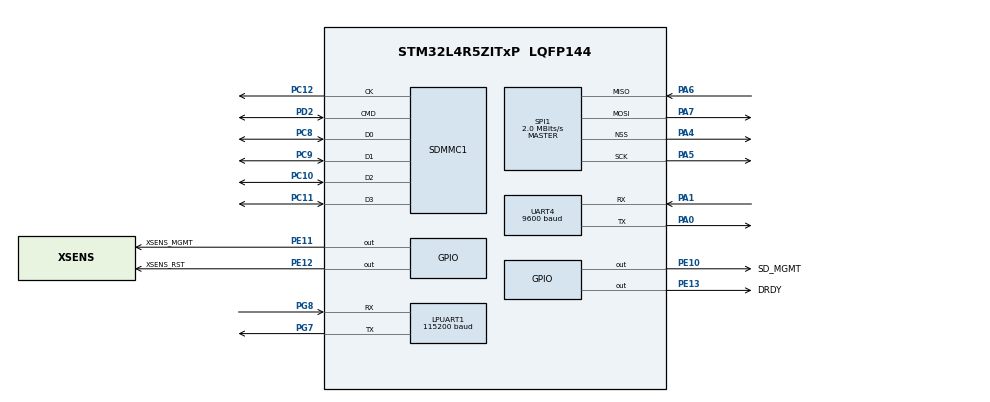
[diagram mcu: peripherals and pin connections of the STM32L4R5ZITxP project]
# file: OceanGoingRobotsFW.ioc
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LPUART1.BaudRate=115200
Mcu.Family=STM32L4
Mcu.Name=STM32L4R5ZITxP
Mcu.Package=LQFP144
NVIC.LPUART1_IRQn=true\:0\:0\:false\:false\:true\:true\:true\:true
NVIC.PriorityGroup=NVIC_PRIORITYGROUP_4
NVIC.UART4_IRQn=true\:0\:0\:false\:false\:true\:true\:true\:true
PA0.Mode=Asynchronous
PA0.Signal=UART4_TX
PA1.Mode=Asynchronous
PA1.Signal=UART4_RX
PA13\ (JTMS/SWDIO).Mode=Serial_Wire
PA13\ (JTMS/SWDIO).Signal=SYS_JTMS-SWDIO
PA14\ (JTCK/SWCLK).Mode=Serial_Wire
PA14\ (JTCK/SWCLK).Signal=SYS_JTCK-SWCLK
PA15\ (JTDI).Signal=SYS_JTDI
PA4.Mode=NSS_Signal_Hard_Output
PA4.Signal=SPI1_NSS
PA5.Mode=Full_Duplex_Master
PA5.Signal=SPI1_SCK
PA6.Mode=Full_Duplex_Master
PA6.Signal=SPI1_MISO
PA7.Mode=Full_Duplex_Master
PA7.Signal=SPI1_MOSI
PB3\ (JTDO/TRACESWO).Signal=SYS_JTDO-SWO
PB4\ (NJTRST).Signal=SYS_JTRST
PC10.GPIO_PuPd=GPIO_PULLUP
PC10.GPIO_Speed_High_Default=GPIO_SPEED_FREQ_LOW
PC10.Mode=SD_4_bits_Wide_bus
PC10.Signal=SDMMC1_D2
PC11.GPIO_PuPd=GPIO_PULLUP
PC11.GPIO_Speed_High_Default=GPIO_SPEED_FREQ_LOW
PC11.Mode=SD_4_bits_Wide_bus
PC11.Signal=SDMMC1_D3
PC12.GPIO_PuPd=GPIO_PULLUP
PC12.GPIO_Speed_High_Default=GPIO_SPEED_FREQ_LOW
PC12.Mode=SD_4_bits_Wide_bus
PC12.Signal=SDMMC1_CK
PC8.GPIO_PuPd=GPIO_PULLUP
PC8.GPIO_Speed_High_Default=GPIO_SPEED_FREQ_LOW
PC8.Mode=SD_4_bits_Wide_bus
PC8.Signal=SDMMC1_D0
PC9.GPIO_Mode=GPIO_MODE_AF_PP
PC9.GPIO_PuPd=GPIO_PULLUP
PC9.GPIO_Speed_High_Default=GPIO_SPEED_FREQ_LOW
PC9.Mode=SD_4_bits_Wide_bus
PC9.Signal=SDMMC1_D1
PD2.GPIO_PuPd=GPIO_PULLUP
PD2.GPIO_Speed_High_Default=GPIO_SPEED_FREQ_LOW
PD2.Mode=SD_4_bits_Wide_bus
PD2.Signal=SDMMC1_CMD
PE10.GPIO_Label=SD_MGMT
PE10.Signal=GPIO_Output
PE11.GPIO_Label=XSENS_MGMT
PE11.Signal=GPIO_Output
PE12.GPIO_Label=XSENS_RST
PE12.Signal=GPIO_Output
PE13.GPIO_Label=DRDY
PE13.Signal=GPIO_Output
PG7.Mode=Asynchronous
PG7.Signal=LPUART1_TX
PG8.Mode=Asynchronous
PG8.Signal=LPUART1_RX
ProjectManager.HeapSize=0x200
ProjectManager.StackSize=0x400
ProjectManager.TargetToolchain=STM32CubeIDE
RCC.HSE_VALUE=8000000
RCC.HSI48_VALUE=48000000
RCC.HSI_VALUE=16000000
RCC.LSE_VALUE=32768
RCC.MSI_VALUE=4000000
RCC.PLLN=16
RCC.VCOOutputFreq_Value=64000000
SDMMC1.ClockDiv=32
SPI1.CalculateBaudRate=2.0 MBits/s
SPI1.Direction=SPI_DIRECTION_2LINES
SPI1.Mode=SPI_MODE_MASTER
SPI1.VirtualNSS=VM_NSSHARD
SPI1.VirtualType=VM_MASTER
UART4.BaudRate=9600
VP_FATFS_VS_SDIO.Mode=SDIO
board=custom

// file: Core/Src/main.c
/* USER CODE BEGIN Header */
/**
  ******************************************************************************
  * @file           : main.c
  * @brief          : Main program body
  ******************************************************************************
  * @attention
  *
  * Copyright (c) 2022 STMicroelectronics.
  * All rights reserved.
  *
  * This software is licensed under terms that can be found in the LICENSE file
  * in the root directory of this software component.
  * If no LICENSE file comes with this software, it is provided AS-IS.
  *
  ******************************************************************************
  */
/* USER CODE END Header */
#include "main.h"
#include "fatfs.h"

/* USER CODE BEGIN Includes */
#include "string.h"
#include <stdlib.h>
#include "Uart_manager.h"
#include "UartRingBuffer_multi.h"
#include "SDCardStuff.h"

/* USER CODE END Includes */

 UART_HandleTypeDef hlpuart1;
UART_HandleTypeDef huart4;

SD_HandleTypeDef hsd1;

SPI_HandleTypeDef hspi1;

void SystemClock_Config(void);
static void MX_GPIO_Init(void);
static void MX_SDMMC1_SD_Init(void);
static void MX_SPI1_Init(void);
static void MX_UART4_Init(void);
static void MX_LPUART1_UART_Init(void);
/* USER CODE BEGIN PFP */

void SD_PWRMGMT(int state);
void XSENS_PWRMGMT(int state);

/* USER CODE END PFP */

int main(void)
{
  /* USER CODE BEGIN 1 */
	char tx_buf[20];
  /* USER CODE END 1 */

  /* MCU Configuration--------------------------------------------------------*/

  /* Reset of all peripherals, Initializes the Flash interface and the Systick. */
  HAL_Init();

  /* USER CODE BEGIN Init */
  UART_Init();

  /* USER CODE END Init */

  /* Configure the system clock */
  SystemClock_Config();

  /* Initialize all configured peripherals */
  MX_GPIO_Init();
  MX_SDMMC1_SD_Init();
  MX_SPI1_Init();
  MX_UART4_Init();
  MX_LPUART1_UART_Init();
  MX_FATFS_Init();
  /* USER CODE BEGIN 2 */

  // Turn off XSENS and SD Card (fix these so its just set low instead of toggle)
  SD_PWRMGMT(0);
  XSENS_PWRMGMT(0);

  // Create some variables for main
  int a = 1;			// dummy variable for a while loop
  float UTC = 0;			// Unix time
  int TotalData = 0;	// Total number of data points collected in this 20 minute interval so far
  int NewData = 0;			// number of new data points since last write to the SD card
  int buffer = 0;		// Variable for storing number of data points in XSENS buffer
  int restart = 0;

  // Allocate dynamic arrays for
  // parameters collected by XSENS. (11)
  // Length 120 in case there's extra data.
  // Should only get up to 100 values each
  float* AccX = calloc(120, sizeof(float));
  float* AccY = calloc(120, sizeof(float));
  float* AccZ = calloc(120, sizeof(float));
  float* Orien1 = calloc(120, sizeof(float));
  float* Orien2 = calloc(120, sizeof(float));
  float* Orien3 = calloc(120, sizeof(float));
  float* Orien4 = calloc(120, sizeof(float));
  float* MagX = calloc(120, sizeof(float));
  float* MagY = calloc(120, sizeof(float));
  float* MagZ = calloc(120, sizeof(float));
  float* TimeStamp = calloc(120, sizeof(float));

  float ParamCSV[15];

  /* USER CODE END 2 */

  /* Infinite loop */
  /* USER CODE BEGIN WHILE */
  while (1) {

	  //poll for serial until receiving "set time %lf\r" where %lf = unix time
	  while (a) {
		  // if receive the aforementioned serial message, store UTC
		  UTC = UART_TimeCheck();
		  if (UTC != 0) {

		  	  // send ack "TIME SET:\r"
		  	  sprintf(tx_buf, "TIME SET:\r\n");
		  	  tx_string(&huart4, tx_buf);

		  	  // Power on XSENS and SD card
		  	  SD_PWRMGMT(1);
		  	  XSENS_PWRMGMT(1);

			  // Wait a tiny bit so the SD or XSENS don't get confused, having just been born.
			  HAL_Delay(20);

		  	  // Init SD card with UTC for filename
		  	  initFileSD(UTC);

		  	  // Init XSENS with UTC
		  	  XSENS_INIT(UTC);

		  	  // Power off SD Card
		  	  SD_PWRMGMT(0);

		  	  // break loop
		  	  a = 0;

		  } // End If
	  } // End While

	  // if there are 10 data points in the XSENS Buffer
	  buffer = XSENS_Buffer();
	  if (buffer >= 10) {
		  // Grab contents of buffer and append it to data0, data1, data2 etc....
		  XSENS_Read(NewData, 120, AccX, AccY, AccZ, Orien1, Orien2, Orien3, Orien4, MagX, MagY, MagZ, TimeStamp);
		  NewData += buffer;
	  }

	  // After NewData >= 100, store all the gathered XSENS data to the SD card
	  if (NewData >= 100) {
		  //Add number of new Data (~100) to TotalData
		  TotalData += NewData;

	  	  //turn on SD card
		  SD_PWRMGMT(1);

		  //Wait a tiny bit so the SD doesn't get confused, having just been born.
		  HAL_Delay(20);

	  	  //store data
		  writeSD(UTC, AccX, AccY, AccZ, Orien1, Orien2, Orien3, Orien4, MagX, MagY, MagZ, TimeStamp, TotalData);

	  	  //turn off SD card
		  SD_PWRMGMT(0);
	  }

	  // poll for serial to wait for message "restart\r"
	  restart = UART_RestartCheck();

	  // if Serial has received restart\r
	  if(restart) {
  	  	  // Power off XSENS
  	  	  XSENS_PWRMGMT(0);

	  	  // dump remaining data (free parameter arrays). Up to 10 seconds of data out of 20 mins doesnt matter that much
	  	  // and we need to be quick here so that the glider can dive sooner and we don't hit timeout.
  	  	  free(AccX);
  	  	  free(AccY);
		  free(AccZ);
		  free(Orien1);
		  free(Orien2);
		  free(Orien3);
		  free(Orien4);
		  free(MagX);
		  free(MagY);
		  free(MagZ);
		  free(TimeStamp);

	  	  // Power on SD Card
	  	  SD_PWRMGMT(1);

	  	  // Run Data analysis function
	  	  DataAnalysis(ParamCSV);

		  // Write CSV to SD Card
	  	  writeColSD(UTC, ParamCSV, 13);

	  	  // Send CSV over serial
	  	  tx_string(&huart4, tx_buf);

	  } // End If

    /* USER CODE END WHILE */

    /* USER CODE BEGIN 3 */

  } // End Main While

  /* USER CODE END 3 */
}

void SystemClock_Config(void)
{
  RCC_OscInitTypeDef RCC_OscInitStruct = {0};
  RCC_ClkInitTypeDef RCC_ClkInitStruct = {0};

  /** Configure the main internal regulator output voltage
  */
  if (HAL_PWREx_ControlVoltageScaling(PWR_REGULATOR_VOLTAGE_SCALE1) != HAL_OK)
  {
    Error_Handler();
  }

  /** Initializes the RCC Oscillators according to the specified parameters
  * in the RCC_OscInitTypeDef structure.
  */
  RCC_OscInitStruct.OscillatorType = RCC_OSCILLATORTYPE_MSI;
  RCC_OscInitStruct.MSIState = RCC_MSI_ON;
  RCC_OscInitStruct.MSICalibrationValue = 0;
  RCC_OscInitStruct.MSIClockRange = RCC_MSIRANGE_6;
  RCC_OscInitStruct.PLL.PLLState = RCC_PLL_ON;
  RCC_OscInitStruct.PLL.PLLSource = RCC_PLLSOURCE_MSI;
  RCC_OscInitStruct.PLL.PLLM = 1;
  RCC_OscInitStruct.PLL.PLLN = 16;
  RCC_OscInitStruct.PLL.PLLP = RCC_PLLP_DIV2;
  RCC_OscInitStruct.PLL.PLLQ = RCC_PLLQ_DIV2;
  RCC_OscInitStruct.PLL.PLLR = RCC_PLLR_DIV2;
  if (HAL_RCC_OscConfig(&RCC_OscInitStruct) != HAL_OK)
  {
    Error_Handler();
  }

  /** Initializes the CPU, AHB and APB buses clocks
  */
  RCC_ClkInitStruct.ClockType = RCC_CLOCKTYPE_HCLK|RCC_CLOCKTYPE_SYSCLK
                              |RCC_CLOCKTYPE_PCLK1|RCC_CLOCKTYPE_PCLK2;
  RCC_ClkInitStruct.SYSCLKSource = RCC_SYSCLKSOURCE_MSI;
  RCC_ClkInitStruct.AHBCLKDivider = RCC_SYSCLK_DIV1;
  RCC_ClkInitStruct.APB1CLKDivider = RCC_HCLK_DIV1;
  RCC_ClkInitStruct.APB2CLKDivider = RCC_HCLK_DIV1;

  if (HAL_RCC_ClockConfig(&RCC_ClkInitStruct, FLASH_LATENCY_0) != HAL_OK)
  {
    Error_Handler();
  }
}

static void MX_LPUART1_UART_Init(void)
{

  hlpuart1.Instance = LPUART1;
  hlpuart1.Init.BaudRate = 115200;
  hlpuart1.Init.WordLength = UART_WORDLENGTH_7B;
  hlpuart1.Init.StopBits = UART_STOPBITS_1;
  hlpuart1.Init.Parity = UART_PARITY_NONE;
  hlpuart1.Init.Mode = UART_MODE_TX_RX;
  hlpuart1.Init.HwFlowCtl = UART_HWCONTROL_NONE;
  hlpuart1.Init.OneBitSampling = UART_ONE_BIT_SAMPLE_DISABLE;
  hlpuart1.Init.ClockPrescaler = UART_PRESCALER_DIV1;
  hlpuart1.AdvancedInit.AdvFeatureInit = UART_ADVFEATURE_NO_INIT;
  hlpuart1.FifoMode = UART_FIFOMODE_DISABLE;
  if (HAL_UART_Init(&hlpuart1) != HAL_OK)
  {
    Error_Handler();
  }
  if (HAL_UARTEx_SetTxFifoThreshold(&hlpuart1, UART_TXFIFO_THRESHOLD_1_8) != HAL_OK)
  {
    Error_Handler();
  }
  if (HAL_UARTEx_SetRxFifoThreshold(&hlpuart1, UART_RXFIFO_THRESHOLD_1_8) != HAL_OK)
  {
    Error_Handler();
  }
  if (HAL_UARTEx_DisableFifoMode(&hlpuart1) != HAL_OK)
  {
    Error_Handler();
  }

}

static void MX_UART4_Init(void)
{

  huart4.Instance = UART4;
  huart4.Init.BaudRate = 9600;
  huart4.Init.WordLength = UART_WORDLENGTH_8B;
  huart4.Init.StopBits = UART_STOPBITS_1;
  huart4.Init.Parity = UART_PARITY_NONE;
  huart4.Init.Mode = UART_MODE_TX_RX;
  huart4.Init.HwFlowCtl = UART_HWCONTROL_NONE;
  huart4.Init.OverSampling = UART_OVERSAMPLING_16;
  huart4.Init.OneBitSampling = UART_ONE_BIT_SAMPLE_DISABLE;
  huart4.Init.ClockPrescaler = UART_PRESCALER_DIV1;
  huart4.AdvancedInit.AdvFeatureInit = UART_ADVFEATURE_NO_INIT;
  if (HAL_UART_Init(&huart4) != HAL_OK)
  {
    Error_Handler();
  }
  if (HAL_UARTEx_SetTxFifoThreshold(&huart4, UART_TXFIFO_THRESHOLD_1_8) != HAL_OK)
  {
    Error_Handler();
  }
  if (HAL_UARTEx_SetRxFifoThreshold(&huart4, UART_RXFIFO_THRESHOLD_1_8) != HAL_OK)
  {
    Error_Handler();
  }
  if (HAL_UARTEx_DisableFifoMode(&huart4) != HAL_OK)
  {
    Error_Handler();
  }

}

static void MX_SDMMC1_SD_Init(void)
{

  hsd1.Instance = SDMMC1;
  hsd1.Init.ClockEdge = SDMMC_CLOCK_EDGE_RISING;
  hsd1.Init.ClockPowerSave = SDMMC_CLOCK_POWER_SAVE_DISABLE;
  hsd1.Init.BusWide = SDMMC_BUS_WIDE_4B;
  hsd1.Init.HardwareFlowControl = SDMMC_HARDWARE_FLOW_CONTROL_DISABLE;
  hsd1.Init.ClockDiv = 32;
  hsd1.Init.Transceiver = SDMMC_TRANSCEIVER_DISABLE;

}

static void MX_SPI1_Init(void)
{

  /* SPI1 parameter configuration*/
  hspi1.Instance = SPI1;
  hspi1.Init.Mode = SPI_MODE_MASTER;
  hspi1.Init.Direction = SPI_DIRECTION_2LINES;
  hspi1.Init.DataSize = SPI_DATASIZE_4BIT;
  hspi1.Init.CLKPolarity = SPI_POLARITY_LOW;
  hspi1.Init.CLKPhase = SPI_PHASE_1EDGE;
  hspi1.Init.NSS = SPI_NSS_HARD_OUTPUT;
  hspi1.Init.BaudRatePrescaler = SPI_BAUDRATEPRESCALER_2;
  hspi1.Init.FirstBit = SPI_FIRSTBIT_MSB;
  hspi1.Init.TIMode = SPI_TIMODE_DISABLE;
  hspi1.Init.CRCCalculation = SPI_CRCCALCULATION_DISABLE;
  hspi1.Init.CRCPolynomial = 7;
  hspi1.Init.CRCLength = SPI_CRC_LENGTH_DATASIZE;
  hspi1.Init.NSSPMode = SPI_NSS_PULSE_ENABLE;
  if (HAL_SPI_Init(&hspi1) != HAL_OK)
  {
    Error_Handler();
  }

}

static void MX_GPIO_Init(void)
{
  GPIO_InitTypeDef GPIO_InitStruct = {0};

  /* GPIO Ports Clock Enable */
  __HAL_RCC_GPIOA_CLK_ENABLE();
  __HAL_RCC_GPIOE_CLK_ENABLE();
  __HAL_RCC_GPIOG_CLK_ENABLE();
  HAL_PWREx_EnableVddIO2();
  __HAL_RCC_GPIOC_CLK_ENABLE();
  __HAL_RCC_GPIOD_CLK_ENABLE();
  __HAL_RCC_GPIOB_CLK_ENABLE();

  /*Configure GPIO pin Output Level */
  HAL_GPIO_WritePin(GPIOE, SD_MGMT_Pin|XSENS_MGMT_Pin|XSENS_RST_Pin|DRDY_Pin, GPIO_PIN_RESET);

  /*Configure GPIO pins : SD_MGMT_Pin XSENS_MGMT_Pin XSENS_RST_Pin DRDY_Pin */
  GPIO_InitStruct.Pin = SD_MGMT_Pin|XSENS_MGMT_Pin|XSENS_RST_Pin|DRDY_Pin;
  GPIO_InitStruct.Mode = GPIO_MODE_OUTPUT_PP;
  GPIO_InitStruct.Pull = GPIO_NOPULL;
  GPIO_InitStruct.Speed = GPIO_SPEED_FREQ_LOW;
  HAL_GPIO_Init(GPIOE, &GPIO_InitStruct);

}

/* USER CODE BEGIN 4 */

// SD Power Management Function. Send state = 0 for off or state = 1 for on.
void SD_PWRMGMT(int state) {
	if (state == 0) {
		HAL_GPIO_WritePin(GPIOE, 10, GPIO_PIN_RESET);

	} else {
		HAL_GPIO_WritePin(GPIOE, 10, GPIO_PIN_SET);

	}

}

// XSENS Power Management Function. Send state = 0 for off or state = 1 for on.
void XSENS_PWRMGMT(int state) {
	if (state == 0) {
		HAL_GPIO_WritePin(GPIOE, 11, GPIO_PIN_RESET);

	} else {
		HAL_GPIO_WritePin(GPIOE, 11, GPIO_PIN_SET);

	}

}
/* USER CODE END 4 */

void Error_Handler(void)
{
  __disable_irq();
  while (1)
  {
  }
}
